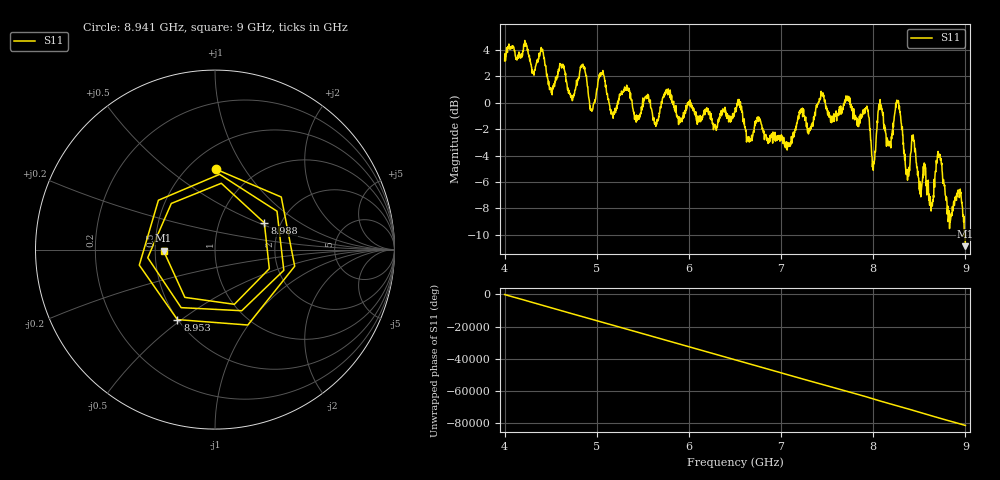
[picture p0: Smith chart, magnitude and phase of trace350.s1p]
! Created with skrf 1.8.0 (http://scikit-rf.org).
# Hz S RI R 50.0
!freq ReS11 ImS11
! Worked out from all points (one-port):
!   1601 points, 4 GHz to 9 GHz, reference 50 ohm
!   lowest |S11| = -10.8 dB at 9 GHz (marker M1), VSWR 1.80, Z = 27.7 - j0.372 ohm
!   |S11| at or under -10 dB: 8.987731 GHz to 8.989334 GHz (1.603 MHz wide, 0.0178 % of centre); 8.996469 GHz to end of sweep
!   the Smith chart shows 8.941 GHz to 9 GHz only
!   S11 on the Smith chart (normalised r, x): 8.941 GHz: 0.68, +0.75; 8.953 GHz: 0.50, -0.48; 8.988 GHz: 1.65, +0.54; 9 GHz: 0.55, -0.01
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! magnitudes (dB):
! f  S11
! 4 GHz  3.1
! 4.506 GHz  0.8
! 4.625 GHz  2.7
! 4.731 GHz  0.2
! 4.853 GHz  2.7
! 4.944 GHz  -0.6
! 5.05 GHz  2.1
! 5.162 GHz  -0.7
! 5.25 GHz  0.5
! 5.875 GHz  -1.0
! 6.5 GHz  -0.7
! 7.125 GHz  -2.7
! 7.441 GHz  0.6
! 7.75 GHz  0.3
! 7.931 GHz  -0.3
! 8.003 GHz  -4.6
! 8.069 GHz  -0.1
! 8.169 GHz  -3.2
! 8.266 GHz  0.0
! 8.375 GHz  -5.2
! 8.434 GHz  -2.4
! 8.625 GHz  -7.8
! 8.709 GHz  -4.1
! 8.828 GHz  -9.5
! 8.941 GHz  -7.0
! 8.953 GHz  -7.1
! 8.988 GHz  -10.1
! 9 GHz  -10.8
